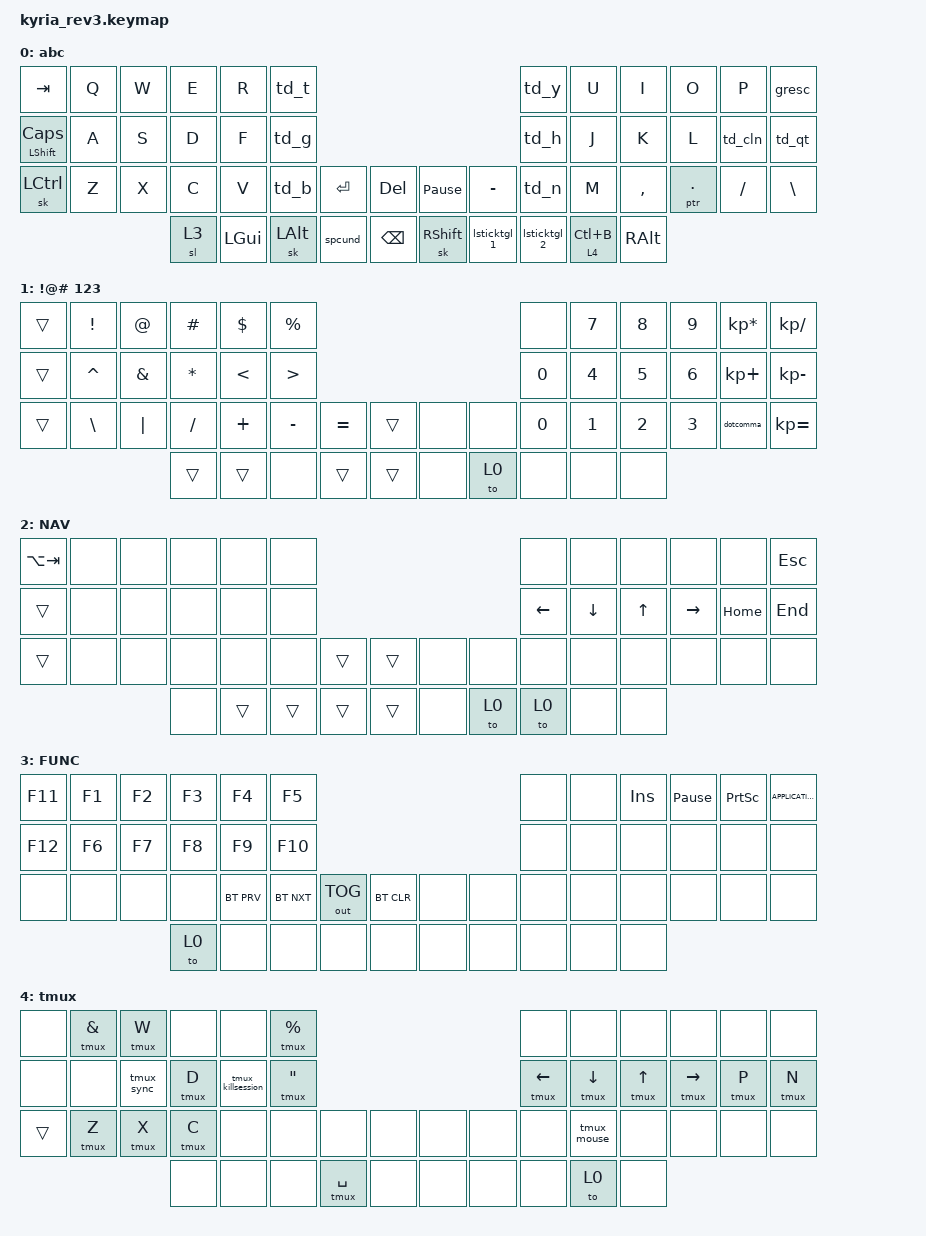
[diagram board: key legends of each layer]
/*
 * Copyright (c) 2023 The ZMK Contributors
 *
 * SPDX-License-Identifier: MIT
 */

#include <behaviors.dtsi>
#include <dt-bindings/zmk/bt.h>
#include <dt-bindings/zmk/keys.h>
#include <dt-bindings/zmk/outputs.h>

/* Uncomment this block if using RGB
&led_strip {
    chain-length = <6>;
    // chain-length = <31>; // Uncomment if using both per-key and underglow LEDs
    // chain-length = <25>; // Uncomment if using only per-key LEDs.
};
 */
// Overrides nice_view cs_gpios pin to D0 from D1, 
// D1 on kyria is shared with LED's and causes issues.

&nice_view_spi { cs-gpios = <&pro_micro 0 GPIO_ACTIVE_HIGH>; };

&gresc {
    mods = <(MOD_LSFT|MOD_RSFT|MOD_LCTL|MOD_RCTL)>;
    keep-mods = <(MOD_LSFT|MOD_RSFT)>;
};

&sl { release-after-ms = <2000>; };

&mt { tapping-term-ms = <150>; };

/ {
    macros {
        dbl_key: dbl_key {
            compatible = "zmk,behavior-macro-one-param";
            #binding-cells = <1>;
            bindings = <&macro_param_1to1 &kp MACRO_PLACEHOLDER &macro_param_1to1 &kp MACRO_PLACEHOLDER>;
        };

        cboc: cboc {
            compatible = "zmk,behavior-macro-one-param";
            #binding-cells = <1>;
            bindings = <&kp LEFT_BRACE &kp RIGHT_BRACE &macro_param_1to1 &kp MACRO_PLACEHOLDER>;
        };

        rboc: rboc {
            compatible = "zmk,behavior-macro-one-param";
            #binding-cells = <1>;
            bindings = <&kp LEFT_PARENTHESIS &kp RIGHT_PARENTHESIS &macro_param_1to1 &kp MACRO_PLACEHOLDER>;
        };

        sboc: sboc {
            compatible = "zmk,behavior-macro-one-param";
            #binding-cells = <1>;
            bindings = <&kp LEFT_BRACKET &kp RIGHT_BRACKET &macro_param_1to1 &kp MACRO_PLACEHOLDER>;
        };

        ptr: ptr {
            compatible = "zmk,behavior-macro";
            #binding-cells = <0>;
            bindings = <&kp MINUS &kp GT>;
        };

        tmux: tmux {
            compatible = "zmk,behavior-macro-one-param";
            #binding-cells = <1>;
            bindings = <&kp LC(B) &macro_param_1to1 &kp MACRO_PLACEHOLDER>;
            label = "TMUX";
        };

        tmux_sync: tmux_sync {
            compatible = "zmk,behavior-macro";
            #binding-cells = <0>;
            bindings = <&tmux COLON &kp S &kp E &kp T &kp W &kp SPACE &kp S &kp Y &kp N &kp C &kp TAB &kp ENTER>;
            label = "TMUX_SYNC";
        };

        tmux_mouse: tmux_mouse {
            compatible = "zmk,behavior-macro";
            #binding-cells = <0>;
            bindings = <&tmux COLON &kp S &kp E &kp T &kp SPACE &kp M &kp O &kp U &kp S &kp E &kp SPACE &kp O &kp N &kp ENTER>;
            label = "TMUX_MOUSE";
        };

        tmux_killsession: tmux_killsession {
            compatible = "zmk,behavior-macro";
            #binding-cells = <0>;
            bindings = <&tmux COLON &kp K &kp I &kp L &kp L &kp MINUS &kp S &kp E &kp S &kp S &kp I &kp O &kp N &kp ENTER>;
            label = "TMUX_KILLSESSION";
        };
    };

    behaviors {
        cboc_dbl_tap: cboc_dbl_tap {
            compatible = "zmk,behavior-hold-tap";
            bindings = <&cboc>, <&dbl_key>;

            #binding-cells = <2>;
            tapping-term-ms = <100>;
        };

        rboc_dbl_tap: rboc_dbl_tap {
            compatible = "zmk,behavior-hold-tap";
            bindings = <&rboc>, <&dbl_key>;

            #binding-cells = <2>;
            tapping-term-ms = <100>;
        };

        sboc_dbl_tap: sboc_dbl_tap {
            compatible = "zmk,behavior-hold-tap";
            bindings = <&sboc>, <&dbl_key>;

            #binding-cells = <2>;
            tapping-term-ms = <100>;
        };

        dbl_mt: dbl_mt {
            compatible = "zmk,behavior-hold-tap";
            bindings = <&dbl_key>, <&dbl_key>;

            #binding-cells = <2>;
            tapping-term-ms = <100>;
        };

        td_t: td_t {
            compatible = "zmk,behavior-tap-dance";
            #binding-cells = <0>;
            bindings = <&mt LEFT_BRACE T>, <&cboc_dbl_tap LEFT T>;
        };

        td_y: td_y {
            compatible = "zmk,behavior-tap-dance";
            #binding-cells = <0>;
            bindings = <&mt RIGHT_BRACE Y>, <&cboc_dbl_tap OPER Y>;
        };

        td_g: td_g {
            compatible = "zmk,behavior-tap-dance";
            #binding-cells = <0>;
            bindings = <&mt LEFT_PARENTHESIS G>, <&rboc_dbl_tap LEFT G>;
        };

        td_h: td_h {
            compatible = "zmk,behavior-tap-dance";
            #binding-cells = <0>;
            bindings = <&mt RIGHT_PARENTHESIS H>, <&rboc_dbl_tap OPER H>;
        };

        td_b: td_b {
            compatible = "zmk,behavior-tap-dance";
            #binding-cells = <0>;
            bindings = <&mt LEFT_BRACKET B>, <&sboc_dbl_tap LEFT B>;
        };

        td_n: td_n {
            compatible = "zmk,behavior-tap-dance";
            #binding-cells = <0>;
            bindings = <&mt RIGHT_BRACKET N>, <&sboc_dbl_tap OPER N>;
        };

        td_qt: td_qt {
            compatible = "zmk,behavior-tap-dance";
            #binding-cells = <0>;
            bindings =
                <&mt DOUBLE_QUOTES SINGLE_QUOTE>,
                <&dbl_mt DOUBLE_QUOTES SINGLE_QUOTE>;
        };

        td_cln: td_cln {
            compatible = "zmk,behavior-tap-dance";
            #binding-cells = <0>;
            bindings = <&mt COLON SEMICOLON>, <&dbl_key COLON>;
        };

        ptrhold: ptrhold {
            compatible = "zmk,behavior-hold-tap";
            bindings = <&ptr>, <&kp>;

            #binding-cells = <2>;
            tapping-term-ms = <200>;
            flavor = "tap-preferred";
        };

        spcund: space_underscore {
            compatible = "zmk,behavior-mod-morph";
            bindings = <&kp SPACE>, <&kp UNDERSCORE>;

            #binding-cells = <0>;
            mods = <(MOD_RSFT|MOD_LSFT)>;
        };

        lsticktgl_1: layer_stick_toggle_1 {
            compatible = "zmk,behavior-tap-dance";
            #binding-cells = <0>;
            bindings = <&mo 1>, <&to 1>;
        };

        lsticktgl_2: layer_stick_toggle_2 {
            compatible = "zmk,behavior-tap-dance";
            #binding-cells = <0>;
            bindings = <&mo 2>, <&to 2>;
        };

        dotcomma: dotcomma {
            compatible = "zmk,behavior-mod-morph";
            bindings = <&kp DOT>, <&kp COMMA>;

            #binding-cells = <0>;
            mods = <(MOD_LCTL|MOD_LSFT|MOD_LALT|MOD_RCTL|MOD_RSFT|MOD_RALT)>;
        };
    };

    keymap {
        compatible = "zmk,keymap";

        default_layer {
            bindings = <
&kp TAB          &kp Q  &kp W  &kp E  &kp R     &td_t                                                              &td_y         &kp U        &kp I      &kp O           &kp P      &gresc
&mt LSHIFT CAPS  &kp A  &kp S  &kp D  &kp F     &td_g                                                              &td_h         &kp J        &kp K      &kp L           &td_cln    &td_qt
&sk LCTRL        &kp Z  &kp X  &kp C  &kp V     &td_b     &kp ENTER  &kp DEL        &kp PAUSE_BREAK  &kp MINUS     &td_n         &kp M        &kp COMMA  &ptrhold 0 DOT  &kp SLASH  &kp BACKSLASH
                               &sl 3  &kp LGUI  &sk LALT  &spcund    &kp BACKSPACE  &sk RSHFT        &lsticktgl_1  &lsticktgl_2  &lt 4 LC(B)  &kp RALT
            >;

            display-name = "abc";
        };

        symnum_layer {
            bindings = <
&trans  &kp EXCL       &kp AT    &kp HASH   &kp DOLLAR  &kp PRCNT                                   &none   &kp N7  &kp N8  &kp N9  &kp KP_ASTERISK  &kp KP_DIVIDE
&trans  &kp CARET      &kp AMPS  &kp STAR   &kp LT      &kp GT                                      &kp N0  &kp N4  &kp N5  &kp N6  &kp KP_PLUS      &kp KP_MINUS
&trans  &kp BACKSLASH  &kp PIPE  &kp SLASH  &kp PLUS    &kp MINUS  &kp EQUAL  &trans  &none  &none  &kp N0  &kp N1  &kp N2  &kp N3  &dotcomma        &kp KP_EQUAL
                                 &trans     &trans      &none      &trans     &trans  &none  &to 0  &none   &none   &none
            >;

            display-name = "!@# 123";
        };

        nav_layer {
            bindings = <
&kp LA(TAB)  &none  &none  &none  &none   &none                                 &none     &none     &none   &none      &none     &kp ESC
&trans       &none  &none  &none  &none   &none                                 &kp LEFT  &kp DOWN  &kp UP  &kp RIGHT  &kp HOME  &kp END
&trans       &none  &none  &none  &none   &none   &trans  &trans  &none  &none  &none     &none     &none   &none      &none     &none
                           &none  &trans  &trans  &trans  &trans  &none  &to 0  &to 0     &none     &none
            >;

            display-name = "NAV";
        };

        func_layer {
            bindings = <
&kp F11  &kp F1  &kp F2  &kp F3  &kp F4      &kp F5                                              &none  &none  &kp INSERT  &kp PAUSE_BREAK  &kp PRINTSCREEN  &kp K_APPLICATION
&kp F12  &kp F6  &kp F7  &kp F8  &kp F9      &kp F10                                             &none  &none  &none       &none            &none            &none
&none    &none   &none   &none   &bt BT_PRV  &bt BT_NXT  &out OUT_TOG  &bt BT_CLR  &none  &none  &none  &none  &none       &none            &none            &none
                         &to 0   &none       &none       &none         &none       &none  &none  &none  &none  &none
            >;

            display-name = "FUNC";
        };

        tmux {
            bindings = <
&none   &tmux AMPS  &tmux W     &none    &none              &tmux PRCNT                                            &none             &none        &none     &none        &none    &none
&none   &none       &tmux_sync  &tmux D  &tmux_killsession  &tmux DOUBLE_QUOTES                                    &tmux LEFT_ARROW  &tmux DOWN   &tmux UP  &tmux RIGHT  &tmux P  &tmux N
&trans  &tmux Z     &tmux X     &tmux C  &none              &none                &none        &none  &none  &none  &none             &tmux_mouse  &none     &none        &none    &none
                                &none    &none              &none                &tmux SPACE  &none  &none  &none  &none             &to 0        &none
            >;
        };
    };
};
